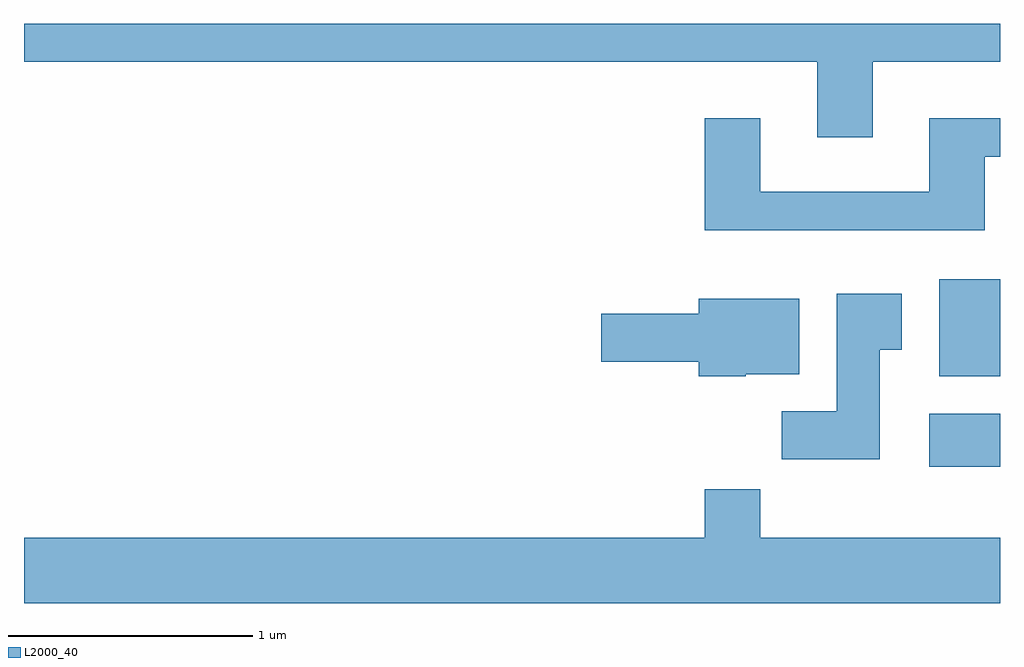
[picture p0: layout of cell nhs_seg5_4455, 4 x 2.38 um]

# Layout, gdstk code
import gdstk
lib = gdstk.Library(unit=1e-6, precision=1e-09)
def R(c, l, rs):  # rectangles x0, y0, x1, y1
    for r in rs: c.add(gdstk.rectangle(r[:2], r[2:], *l))
def P(c, l, *ps):  # polygons
    for p in ps: c.add(gdstk.Polygon(p, *l))
L2000_40 = (2000, 40)

nhs_seg5_4455 = lib.new_cell('nhs_seg5_4455')
R(nhs_seg5_4455, L2000_40, [(321.321,1446.256,321.611,1446.474), (321.361,1446.626,321.611,1447.024)])
P(nhs_seg5_4455, L2000_40, [(321.089,1447.916),(321.611,1447.916),(321.611,1448.072),(317.611,1448.072),(317.611,1447.916),(320.861,1447.916),(320.861,1447.606),(321.089,1447.606)],
  [(321.549,1447.526),(321.611,1447.526),(321.611,1447.684),(321.321,1447.684),(321.321,1447.384),(320.629,1447.384),(320.629,1447.684),(320.401,1447.684),(320.401,1447.226),(321.549,1447.226)],
  [(321.119,1446.736),(321.209,1446.736),(321.209,1446.964),(320.941,1446.964),(320.941,1446.484),(320.716,1446.484),(320.716,1446.286),(321.119,1446.286)],
  [(320.57,1446.636),(320.789,1446.636),(320.789,1446.944),(320.376,1446.944),(320.376,1446.884),(319.976,1446.884),(319.976,1446.686),(320.376,1446.686),(320.376,1446.626),(320.57,1446.626)],
  [(321.611,1445.964),(320.629,1445.964),(320.629,1446.164),(320.401,1446.164),(320.401,1445.964),(317.611,1445.964),(317.611,1445.696),(321.611,1445.696)])

lib.write_gds('nhs_seg5_4455.gds')
